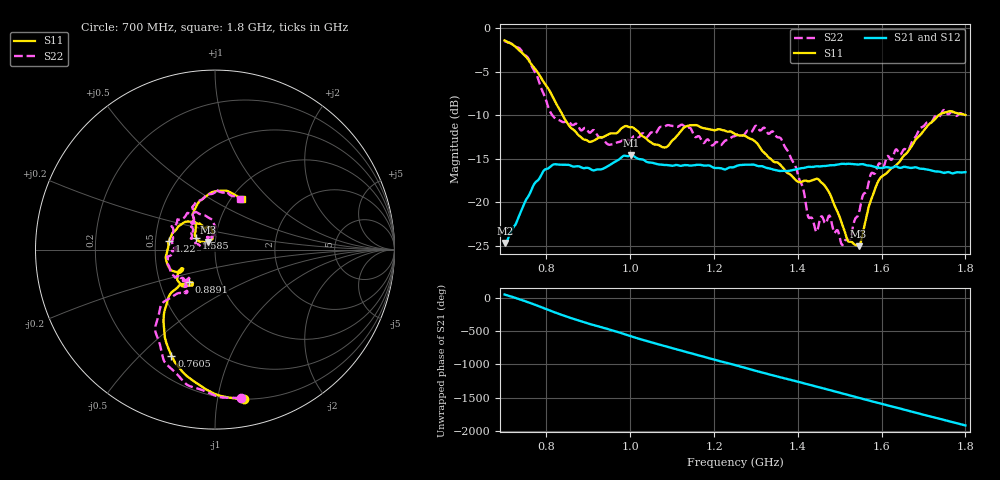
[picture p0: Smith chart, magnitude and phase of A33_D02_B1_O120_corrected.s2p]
! Created with skrf 1.9.0 (http://scikit-rf.org).
# Hz S RI R 50.0
!freq ReS11 ImS11 ReS21 ImS21 ReS12 ImS12 ReS22 ImS22
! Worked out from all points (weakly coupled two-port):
!   1601 points, 700 MHz to 1.8 GHz, reference 50 ohm
!   highest |S21| = -14.60 dB at 1.002 GHz (marker M1); lowest = -24.6 dB at 700.7 MHz (marker M2)
!   lowest |S11| = -25.0 dB at 1.545 GHz (marker M3), VSWR 1.12, Z = 46.3 + j3.94 ohm
!   |S11| at or under -10 dB: 838.8 MHz to 1.736 GHz (897.2 MHz wide, 69.7 % of centre)
!   |S22| runs from -24.9 to -1.5 dB; largest |S21 - S12| = 0.0034
!   S11 on the Smith chart (normalised r, x): 700 MHz: 0.20, -1.19; 760.5 MHz: 0.31, -0.62; 889.1 MHz: 0.71, -0.27; 1.22 GHz: 0.59, +0.06; 1.585 GHz: 0.81, +0.10; 1.8 GHz: 1.12, +0.70
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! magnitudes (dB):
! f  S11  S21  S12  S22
! 700 MHz  -1.4  -24.6  -24.4  -1.5
! 700.7 MHz  -1.4  -24.6  -24.3  -1.5
! 760.5 MHz  -3.9  -18.9  -18.8  -3.9
! 814.8 MHz  -7.9  -15.7  -15.7  -10.1
! 883.6 MHz  -12.6  -16.0  -15.9  -11.7
! 889.1 MHz  -12.8  -16.1  -16.0  -11.5
! 949.6 MHz  -12.1  -15.7  -15.8  -13.4
! 1.002 GHz  -11.4  -14.6  -14.7  -12.7
! 1.067 GHz  -13.4  -15.6  -15.6  -11.6
! 1.14 GHz  -11.2  -15.8  -15.7  -11.4
! 1.22 GHz  -11.7  -16.1  -16.2  -13.3
! 1.25 GHz  -12.1  -15.9  -15.8  -12.4
! 1.359 GHz  -15.7  -16.4  -16.4  -12.6
! 1.394 GHz  -17.4  -16.2  -16.2  -15.8
! 1.434 GHz  -17.5  -15.9  -15.9  -21.8
! 1.476 GHz  -18.9  -15.7  -15.8  -21.5
! 1.508 GHz  -22.7  -15.6  -15.5  -24.8
! 1.545 GHz  -25.0  -15.7  -15.6  -21.4
! 1.585 GHz  -18.3  -15.9  -15.9  -16.5
! 1.617 GHz  -16.4  -16.0  -16.0  -14.8
! 1.738 GHz  -9.9  -16.5  -16.5  -10.1
! 1.8 GHz  -10.0  -16.5  -16.5  -10.0
